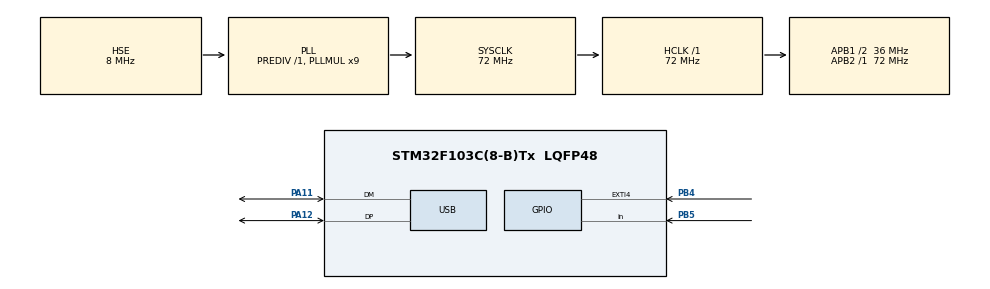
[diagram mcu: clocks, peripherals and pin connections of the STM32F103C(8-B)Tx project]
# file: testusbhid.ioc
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Mcu.Family=STM32F1
Mcu.Name=STM32F103C(8-B)Tx
Mcu.Package=LQFP48
NVIC.EXTI4_IRQn=true\:0\:0\:false\:false\:true\:true\:true\:true
NVIC.PriorityGroup=NVIC_PRIORITYGROUP_4
NVIC.USB_LP_CAN1_RX0_IRQn=true\:0\:0\:false\:false\:true\:false\:true\:true
PA11.Mode=Device
PA11.Signal=USB_DM
PA12.Mode=Device
PA12.Signal=USB_DP
PA13.Mode=Serial_Wire
PA13.Signal=SYS_JTMS-SWDIO
PA14.Mode=Serial_Wire
PA14.Signal=SYS_JTCK-SWCLK
PB4.Signal=GPXTI4
PB5.Signal=GPIO_Input
PD0-OSC_IN.Mode=HSE-External-Oscillator
PD0-OSC_IN.Signal=RCC_OSC_IN
PD1-OSC_OUT.Mode=HSE-External-Oscillator
PD1-OSC_OUT.Signal=RCC_OSC_OUT
ProjectManager.HeapSize=0x200
ProjectManager.StackSize=0x400
ProjectManager.TargetToolchain=EWARM V8
RCC.AHBFreq_Value=72000000
RCC.APB1CLKDivider=RCC_HCLK_DIV2
RCC.APB1Freq_Value=36000000
RCC.APB1TimFreq_Value=72000000
RCC.APB2Freq_Value=72000000
RCC.APB2TimFreq_Value=72000000
RCC.HCLKFreq_Value=72000000
RCC.PLLMUL=RCC_PLL_MUL9
RCC.SYSCLKFreq_VALUE=72000000
RCC.SYSCLKSource=RCC_SYSCLKSOURCE_PLLCLK
RCC.USBFreq_Value=48000000
RCC.USBPrescaler=RCC_USBCLKSOURCE_PLL_DIV1_5
USB_DEVICE.CLASS_NAME_FS=HID
USB_DEVICE.VirtualMode=Hid
USB_DEVICE.VirtualModeFS=Hid_FS
VP_USB_DEVICE_VS_USB_DEVICE_HID_FS.Mode=HID_FS
board=custom

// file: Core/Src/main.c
/* USER CODE BEGIN Header */
/**
  ******************************************************************************
  * @file           : main.c
  * @brief          : Main program body
  ******************************************************************************
  * @attention
  *
  * Copyright (c) 2023 STMicroelectronics.
  * All rights reserved.
  *
  * This software is licensed under terms that can be found in the LICENSE file
  * in the root directory of this software component.
  * If no LICENSE file comes with this software, it is provided AS-IS.
  *
  ******************************************************************************
  */
/* USER CODE END Header */
#include "main.h"
#include "usb_device.h"

/* USER CODE BEGIN Includes */
#include "usbd_hid.h"
#include <stdbool.h>
#include "usbd_hid.h"
#include "keyboard.h"
#include "queue.h"
/* USER CODE END Includes */

/* USER CODE BEGIN PV */
typedef struct
{
	uint8_t MODIFIER;
	uint8_t RESERVED;
	uint8_t KEYCODE1;
	uint8_t KEYCODE2;
	uint8_t KEYCODE3;
	uint8_t KEYCODE4;
	uint8_t KEYCODE5;
	uint8_t KEYCODE6;
} keyboardHID;

keyboardHID keyboardhid = {0,0,0,0,0,0,0,0};

uint16_t kbd_sequence = 0;
uint8_t bit_num = 0;
uint8_t action_int = 11;
uint8_t parity_bit = 0;
uint16_t kbd_code = 0;
uint32_t time = 0;
uint8_t flag = 0;

struct queue_t keyq = {0};
struct keyboard_hid_t khid = {0};
uint32_t keyq_timeout = 0;
/* USER CODE END PV */

void SystemClock_Config(void);
static void MX_GPIO_Init(void);

/* USER CODE BEGIN 0 */
extern USBD_HandleTypeDef hUsbDeviceFS;
void kbd_arbeit()
{

  uint8_t bit = HAL_GPIO_ReadPin(GPIOB, GPIO_PIN_5);
  switch (action_int)
  {
      case 11:
        if (!bit)
        {
          action_int = 0;
        }
        break;
  case 0 ... 7:
    if (bit)
    {
      kbd_sequence |= (1<<action_int);
      parity_bit++;
    }
    else
    {
      kbd_sequence &=~(1<<action_int);
    }
    action_int++;
    break;
  case 8:
    if (bit)
    {
      if (parity_bit & (1<<0))
      {
        action_int = 11;
      }
      else
      {
        action_int = 9;
      }
    }
    else
    {
      if (parity_bit & (1<<0))
      {
        action_int = 9;
      }
      else
      {
        action_int = 11;
      }
    }
    break;
  case 9:
    if (bit)
    {
      kbd_code = kbd_sequence;
      /*if (kbd_code == 0xF0)
      {
        flag = 0x01;
      }*/
      action_int = 11;
      time = HAL_GetTick();
    }
    break;
  }
}

void transmit_mode(uint8_t mode)
{
  GPIO_InitTypeDef GPIO_InitStruct = {0};
  switch (mode)
  {
  case 1:
    GPIO_InitStruct.Pin = GPIO_PIN_5;
    GPIO_InitStruct.Mode = GPIO_MODE_OUTPUT_PP;
    GPIO_InitStruct.Pull = GPIO_NOPULL;
    HAL_GPIO_Init(GPIOB, &GPIO_InitStruct);
    GPIO_InitStruct.Pin = GPIO_PIN_4;
    GPIO_InitStruct.Mode = GPIO_MODE_OUTPUT_PP;
    GPIO_InitStruct.Pull = GPIO_NOPULL;
    HAL_GPIO_Init(GPIOB, &GPIO_InitStruct);
    GPIOB->BRR |= GPIO_PIN_4|GPIO_PIN_5;
    parity_bit = 0;
    action_int = 0;
    GPIOB->BSRR |= GPIO_PIN_5;
    GPIO_InitStruct.Pin = GPIO_PIN_4;
    GPIO_InitStruct.Mode = GPIO_MODE_IT_RISING;
    GPIO_InitStruct.Pull = GPIO_NOPULL;
    HAL_GPIO_Init(GPIOB, &GPIO_InitStruct);
    break;
  case 2:
    GPIO_InitStruct.Pin = GPIO_PIN_4;
    GPIO_InitStruct.Mode = GPIO_MODE_IT_RISING;
    GPIO_InitStruct.Pull = GPIO_NOPULL;
    HAL_GPIO_Init(GPIOB, &GPIO_InitStruct);

    /*Configure GPIO pin : PB5 */
    GPIO_InitStruct.Pin = GPIO_PIN_5;
    GPIO_InitStruct.Mode = GPIO_MODE_INPUT;
    GPIO_InitStruct.Pull = GPIO_NOPULL;
    HAL_GPIO_Init(GPIOB, &GPIO_InitStruct);
  }
}

void keyboard_data_output()
{
  switch (action_int)
  {
  case 0:
    transmit_mode(1);
    break;
  case 1 ... 8:
    if (kbd_code & (1<<action_int-1))
    {
      GPIOB->BSRR |= GPIO_BSRR_BS5;
      parity_bit++;
    }
    else
    {
      GPIOB->BSRR |= GPIO_BSRR_BR5;
    }
    break;
  case 9:
    if (parity_bit & (1<<0))
    {
      GPIOB->BSRR |= GPIO_BSRR_BR5;
    }
    else
    {
      GPIOB->BSRR |= GPIO_BSRR_BS5;
    }
    break;
  case 10:
    parity_bit = 0;
    kbd_code = 0;
    flag = 0;
    transmit_mode(2);
    break;
  }
  action_int++;
}
/* USER CODE END 0 */

int main(void)
{

  /* MCU Configuration--------------------------------------------------------*/

  /* Reset of all peripherals, Initializes the Flash interface and the Systick. */
  HAL_Init();

  /* Configure the system clock */
  SystemClock_Config();

  /* Initialize all configured peripherals */
  MX_GPIO_Init();
  MX_USB_DEVICE_Init();
  /* USER CODE BEGIN 2 */
  queue_init(&keyq);
  /* USER CODE END 2 */

  /* Infinite loop */
  /* USER CODE BEGIN WHILE */
  while (1)
  {
    handle_keys(&hUsbDeviceFS, &khid, &keyq, keyq_timeout/*, &hi2c2*/);
    /*if (HAL_GetTick() - time > 70)
    {
      kbd_code = 0xF0;
    }
    if (kbd_code == 0xF0)
    {
      keyboardhid.MODIFIER = 0x00;
      keyboardhid.KEYCODE1 = 0x00;
      keyboardhid.KEYCODE2 = 0x00;
      keyboardhid.KEYCODE3 = 0x00;
      keyboardhid.KEYCODE4 = 0x00;
      keyboardhid.KEYCODE5 = 0x00;
      keyboardhid.KEYCODE6 = 0x00;

    }
    if (kbd_code == 0x2C)
    {
      keyboardhid.KEYCODE1 = 0x17;
    }
    else if (kbd_code == 0x66)
    {
      keyboardhid.KEYCODE1 = 0x2A;
    }
    if (kbd_code == 0x12 || kbd_code == 0x59)
    {
      keyboardhid.MODIFIER = 0x02;
    }

    USBD_HID_SendReport(&hUsbDeviceFS, (uint8_t*)&keyboardhid, sizeof (keyboardhid));
    */
    /*keyboardhid.MODIFIER = 0x02;  // left Shift
keyboardhid.KEYCODE1 = 0x04;  // press 'a'
keyboardhid.KEYCODE2 = 0x05;  // press 'b'
USBD_HID_SendReport(&hUsbDeviceFS, (uint8_t*)&keyboardhid, sizeof (keyboardhid));
HAL_Delay (50);

keyboardhid.MODIFIER = 0x00;  // shift release
keyboardhid.KEYCODE1 = 0x00;  // release key
keyboardhid.KEYCODE2 = 0x00;  // release key
USBD_HID_SendReport(&hUsbDeviceFS, (uint8_t*)&keyboardhid, sizeof (keyboardhid));
HAL_Delay (1000);*/
    /* USER CODE END WHILE */

  }
}

void SystemClock_Config(void)
{
  RCC_OscInitTypeDef RCC_OscInitStruct = {0};
  RCC_ClkInitTypeDef RCC_ClkInitStruct = {0};
  RCC_PeriphCLKInitTypeDef PeriphClkInit = {0};

  /** Initializes the RCC Oscillators according to the specified parameters
  * in the RCC_OscInitTypeDef structure.
  */
  RCC_OscInitStruct.OscillatorType = RCC_OSCILLATORTYPE_HSE;
  RCC_OscInitStruct.HSEState = RCC_HSE_ON;
  RCC_OscInitStruct.HSEPredivValue = RCC_HSE_PREDIV_DIV1;
  RCC_OscInitStruct.HSIState = RCC_HSI_ON;
  RCC_OscInitStruct.PLL.PLLState = RCC_PLL_ON;
  RCC_OscInitStruct.PLL.PLLSource = RCC_PLLSOURCE_HSE;
  RCC_OscInitStruct.PLL.PLLMUL = RCC_PLL_MUL9;
  if (HAL_RCC_OscConfig(&RCC_OscInitStruct) != HAL_OK)
  {
    Error_Handler();
  }

  /** Initializes the CPU, AHB and APB buses clocks
  */
  RCC_ClkInitStruct.ClockType = RCC_CLOCKTYPE_HCLK|RCC_CLOCKTYPE_SYSCLK
                              |RCC_CLOCKTYPE_PCLK1|RCC_CLOCKTYPE_PCLK2;
  RCC_ClkInitStruct.SYSCLKSource = RCC_SYSCLKSOURCE_PLLCLK;
  RCC_ClkInitStruct.AHBCLKDivider = RCC_SYSCLK_DIV1;
  RCC_ClkInitStruct.APB1CLKDivider = RCC_HCLK_DIV2;
  RCC_ClkInitStruct.APB2CLKDivider = RCC_HCLK_DIV1;

  if (HAL_RCC_ClockConfig(&RCC_ClkInitStruct, FLASH_LATENCY_2) != HAL_OK)
  {
    Error_Handler();
  }
  PeriphClkInit.PeriphClockSelection = RCC_PERIPHCLK_USB;
  PeriphClkInit.UsbClockSelection = RCC_USBCLKSOURCE_PLL_DIV1_5;
  if (HAL_RCCEx_PeriphCLKConfig(&PeriphClkInit) != HAL_OK)
  {
    Error_Handler();
  }
}

static void MX_GPIO_Init(void)
{
  GPIO_InitTypeDef GPIO_InitStruct = {0};

  /* GPIO Ports Clock Enable */
  __HAL_RCC_GPIOD_CLK_ENABLE();
  __HAL_RCC_GPIOA_CLK_ENABLE();
  __HAL_RCC_GPIOB_CLK_ENABLE();

  /*Configure GPIO pin : PB4 */
  GPIO_InitStruct.Pin = GPIO_PIN_4;
  GPIO_InitStruct.Mode = GPIO_MODE_IT_RISING;
  GPIO_InitStruct.Pull = GPIO_NOPULL;
  HAL_GPIO_Init(GPIOB, &GPIO_InitStruct);

  /*Configure GPIO pin : PB5 */
  GPIO_InitStruct.Pin = GPIO_PIN_5;
  GPIO_InitStruct.Mode = GPIO_MODE_INPUT;
  GPIO_InitStruct.Pull = GPIO_NOPULL;
  HAL_GPIO_Init(GPIOB, &GPIO_InitStruct);

  /* EXTI interrupt init*/
  HAL_NVIC_SetPriority(EXTI4_IRQn, 0, 0);
  HAL_NVIC_EnableIRQ(EXTI4_IRQn);

}

void Error_Handler(void)
{
  __disable_irq();
  while (1)
  {
  }
}
